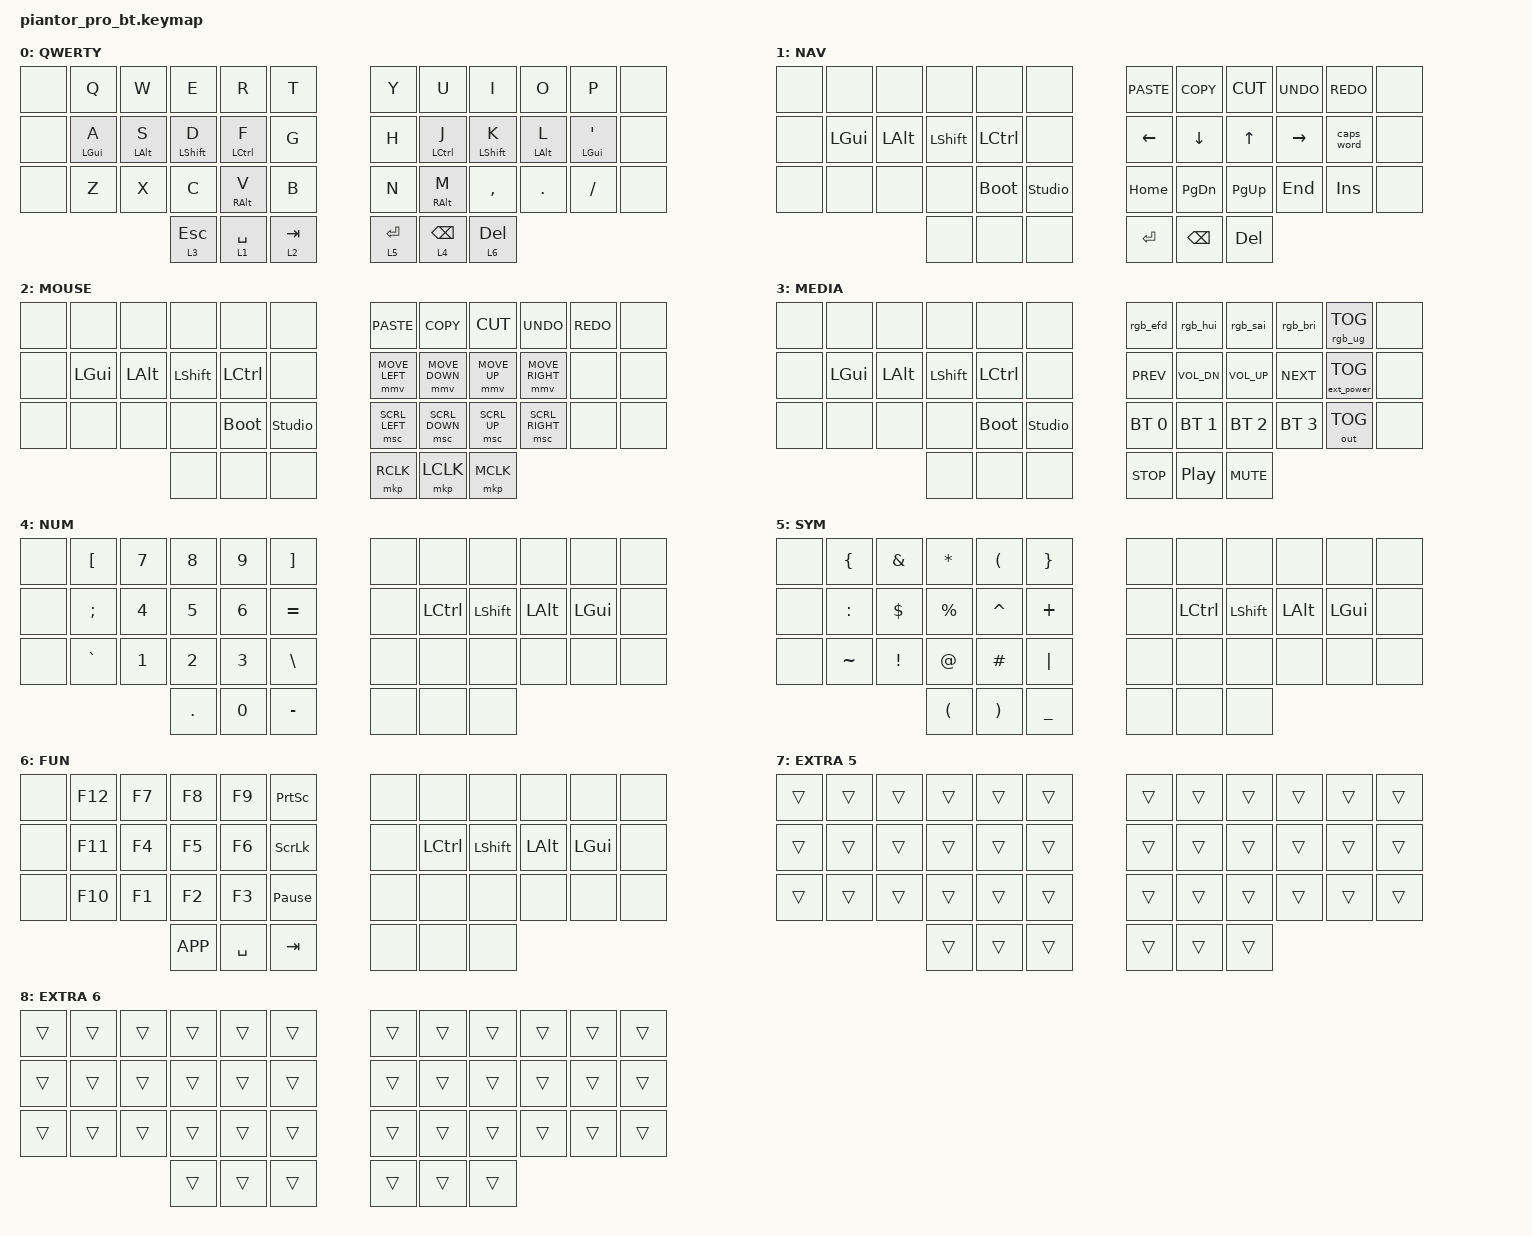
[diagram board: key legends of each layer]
/*
 * Copyright (c) 2020 The ZMK Contributors
 *
 * SPDX-License-Identifier: MIT
 */

#include <behaviors.dtsi>
#include <dt-bindings/zmk/keys.h>
#include <dt-bindings/zmk/bt.h>
#include <dt-bindings/zmk/rgb.h>
#include <dt-bindings/zmk/pointing.h>
#include <dt-bindings/zmk/ext_power.h>
#include <dt-bindings/zmk/outputs.h>

/ {
    chosen {
        zmk,physical-layout = &default_layout;
    };
};

/ {
    behaviors {
        u_mt: u_mt {
          compatible = "zmk,behavior-hold-tap";
          #binding-cells = <2>;
          tapping-term-ms = <200>;
          flavor = "tap-preferred";
          bindings = <&kp>, <&kp>;
        };
        u_lt: u_lt {
          compatible = "zmk,behavior-hold-tap";
          #binding-cells = <2>;
          tapping-term-ms = <200>;
          flavor = "tap-preferred";
          bindings = <&mo>, <&kp>;
        };

        /* Brillo: sin shift = sube, con shift = baja */
        rgb_bri: rgb_brightness {
            compatible = "zmk,behavior-mod-morph";
            #binding-cells = <0>;
            bindings = <&rgb_ug RGB_BRI>, <&rgb_ug RGB_BRD>;
            mods = <(MOD_LSFT|MOD_RSFT)>;
        };

        /* Hue: sin shift = sube, con shift = baja */
        rgb_hui: rgb_hue {
            compatible = "zmk,behavior-mod-morph";
            #binding-cells = <0>;
            bindings = <&rgb_ug RGB_HUI>, <&rgb_ug RGB_HUD>;
            mods = <(MOD_LSFT|MOD_RSFT)>;
        };

        /* Saturación: sin shift = sube, con shift = baja */
        rgb_sai: rgb_saturation {
            compatible = "zmk,behavior-mod-morph";
            #binding-cells = <0>;
            bindings = <&rgb_ug RGB_SAI>, <&rgb_ug RGB_SAD>;
            mods = <(MOD_LSFT|MOD_RSFT)>;
        };

        /* Velocidad: sin shift = sube, con shift = baja */
        rgb_spi: rgb_speed {
            compatible = "zmk,behavior-mod-morph";
            #binding-cells = <0>;
            bindings = <&rgb_ug RGB_SPI>, <&rgb_ug RGB_SPD>;
            mods = <(MOD_LSFT|MOD_RSFT)>;
        };

        /* Efecto: sin shift = siguiente, con shift = anterior */
        rgb_efd: rgb_effect {
            compatible = "zmk,behavior-mod-morph";
            #binding-cells = <0>;
            bindings = <&rgb_ug RGB_EFF>, <&rgb_ug RGB_EFR>;
            mods = <(MOD_LSFT|MOD_RSFT)>;
        };
    };
};

/ {
    keymap {
        compatible = "zmk,keymap";

        default_layer {
            display-name = "QWERTY";
            // --------------------------------------------------------------------------------
            // |  TAB |  Q  |  W  |  E  |  R  |  T  |  Y  |  U   |  I  |  O  |  P  | BSPC |
            // | CTRL |  A  |  S  |  D  |  F  |  G  |  H  |  J   |  K  |  L  |  ;  |  '   |
            // | SHFT |  Z  |  X  |  C  |  V  |  B  |  N  |  M   |  ,  |  .  |  /  | ESC  |
            //                    | GUI | LWR | SPC | ENT | RSE  | ALT |
            bindings = <
                &none &kp        Q &kp        W &kp         E &kp         R &kp T         &kp Y        &kp         U &kp         I     &kp        O   &kp        P    &none
                &none &u_mt LGUI A &u_mt LALT S &u_mt LSHFT D &u_mt LCTRL F &kp G         &kp H        &u_mt LCTRL J &u_mt LSHFT K     &u_mt LALT L   &u_mt LGUI SQT  &none
                &none &kp        Z &kp        X &kp         C &u_mt RALT  V &kp B         &kp N        &u_mt RALT  M &kp         COMMA &kp        DOT &kp        FSLH &none
                                                &u_lt 3 ESC &u_lt 1 SPACE   &u_lt 2 TAB   &u_lt 5 RET  &u_lt 4 BSPC  &u_lt 6 DEL
            >;
        };

        nav_layer {
            display-name = "NAV";
            // -----------------------------------------------------------------------------------------
            // |  TAB |  1  |  2  |  3  |  4  |  5    |  6  |  7  |  8  |  9  |  0  | BSPC |
            // | CTRL | BT1 | BT2 | BT3 | BT4 | BT5   | LFT | DWN |  UP | RGT |     |      |
            // | SHFT | BTCR| RGB | RST | BOOT| Unlock|     |     |     |     |     |      |
            //                    | GUI |     | SPC   | ENT |     | ALT |
            bindings = <
                &none &none    &none    &none     &none       &none          &kp K_PASTE   &kp K_COPY &kp K_CUT &kp K_UNDO    &kp K_REDO &none
                &none &kp LGUI &kp LALT &kp LSHFT &kp LCTRL   &none          &kp LEFT      &kp DOWN   &kp UP    &kp RIGHT     &caps_word &none
                &none &none    &none    &none     &bootloader &studio_unlock &kp HOME      &kp PG_DN  &kp PG_UP &kp END       &kp INS    &none
                                        &none     &none       &none          &kp RET       &kp BSPC     &kp DEL
            >;
        };

        mouse_layer {
            display-name = "MOUSE";
            // -----------------------------------------------------------------------------------------
            // |  TAB |  !  |  @  |  #  |  $  |  %  |  ^  |  &  |  *  |  (  |  )  | BSPC |
            // | CTRL | HUD | HUI |     |     |     |  -  |  =  |  [  |  ]  |  \  |  `   |
            // | SHFT |     |     |     |     |     |  _  |  +  |  {  |  }  | "|" |  ~   |
            //                    | GUI |     | SPC | ENT |     | ALT |
            bindings = <
                &none &none    &none    &none     &none       &none          &kp  K_PASTE    &kp  K_COPY     &kp  K_CUT    &kp  K_UNDO      &kp K_REDO   &none
                &none &kp LGUI &kp LALT &kp LSHFT &kp LCTRL   &none          &mmv MOVE_LEFT  &mmv MOVE_DOWN  &mmv MOVE_UP  &mmv MOVE_RIGHT  &none        &none
                &none &none    &none    &none     &bootloader &studio_unlock &msc SCRL_LEFT  &msc SCRL_DOWN  &msc SCRL_UP  &msc SCRL_RIGHT  &none        &none
                                        &none     &none       &none          &mkp RCLK       &mkp LCLK       &mkp MCLK
            >;
        };

        media_layer {
            display-name = "MEDIA";
            bindings = <
                &none &none    &none    &none     &none       &none          &rgb_efd     &rgb_hui     &rgb_sai     &rgb_bri     &rgb_ug RGB_TOG   &none
                &none &kp LGUI &kp LALT &kp LSHFT &kp LCTRL   &none          &kp C_PREV   &kp C_VOL_DN &kp C_VOL_UP &kp C_NEXT   &ext_power EP_TOG &none
                &none &none    &none    &none     &bootloader &studio_unlock &bt BT_SEL 0 &bt BT_SEL 1 &bt BT_SEL 2 &bt BT_SEL 3 &out OUT_TOG      &none
                                        &none     &none       &none          &kp C_STOP   &kp C_PP     &kp C_MUTE
            >;
        };

        num_layer {
            display-name = "NUM";
            bindings = <
                &none &kp LBKT  &kp N7 &kp N8  &kp N9 &kp RBKT   &none &none     &none     &none    &none    &none
                &none &kp SEMI  &kp N4 &kp N5  &kp N6 &kp EQUAL  &none &kp LCTRL &kp LSHFT &kp LALT &kp LGUI &none
                &none &kp GRAVE &kp N1 &kp N2  &kp N3 &kp BSLH   &none &none     &none     &none    &none    &none
                                       &kp DOT &kp N0 &kp MINUS  &none &none     &none
            >;
        };

        sym_layer {
            display-name = "SYM";
            bindings = <
                &none &kp LBRC  &kp AMPS &kp ASTRK &kp LPAR  &kp RBRC   &none &none     &none     &none    &none    &none
                &none &kp COLON &kp DLLR &kp PRCNT &kp CARET &kp PLUS   &none &kp LCTRL &kp LSHFT &kp LALT &kp LGUI &none
                &none &kp TILDE &kp EXCL &kp AT    &kp HASH  &kp PIPE   &none &none     &none     &none    &none    &none
                                         &kp LPAR  &kp RPAR  &kp UNDER  &none &none     &none
            >;
        };

        fun_layer {
            display-name = "FUN";
            bindings = <
                &none &kp F12 &kp F7 &kp F8    &kp F9    &kp PSCRN        &none &none     &none     &none    &none    &none
                &none &kp F11 &kp F4 &kp F5    &kp F6    &kp SLCK         &none &kp LCTRL &kp LSHFT &kp LALT &kp LGUI &none
                &none &kp F10 &kp F1 &kp F2    &kp F3    &kp PAUSE_BREAK  &none &none     &none     &none    &none    &none
                                     &kp K_APP &kp SPACE &kp TAB          &none &none     &none
            >;
        };

        extra_layer_5 {
            display-name = "EXTRA 5";
            bindings = <
                &trans &trans &trans &trans &trans &trans  &trans &trans &trans &trans &trans &trans
                &trans &trans &trans &trans &trans &trans  &trans &trans &trans &trans &trans &trans
                &trans &trans &trans &trans &trans &trans  &trans &trans &trans &trans &trans &trans
                                     &trans &trans &trans  &trans &trans &trans       
            >;
        };

        extra_layer_6 {
            display-name = "EXTRA 6";
            bindings = <
                &trans &trans &trans &trans &trans &trans  &trans &trans &trans &trans &trans &trans
                &trans &trans &trans &trans &trans &trans  &trans &trans &trans &trans &trans &trans
                &trans &trans &trans &trans &trans &trans  &trans &trans &trans &trans &trans &trans
                                     &trans &trans &trans  &trans &trans &trans       
            >;
        };
    };
};
